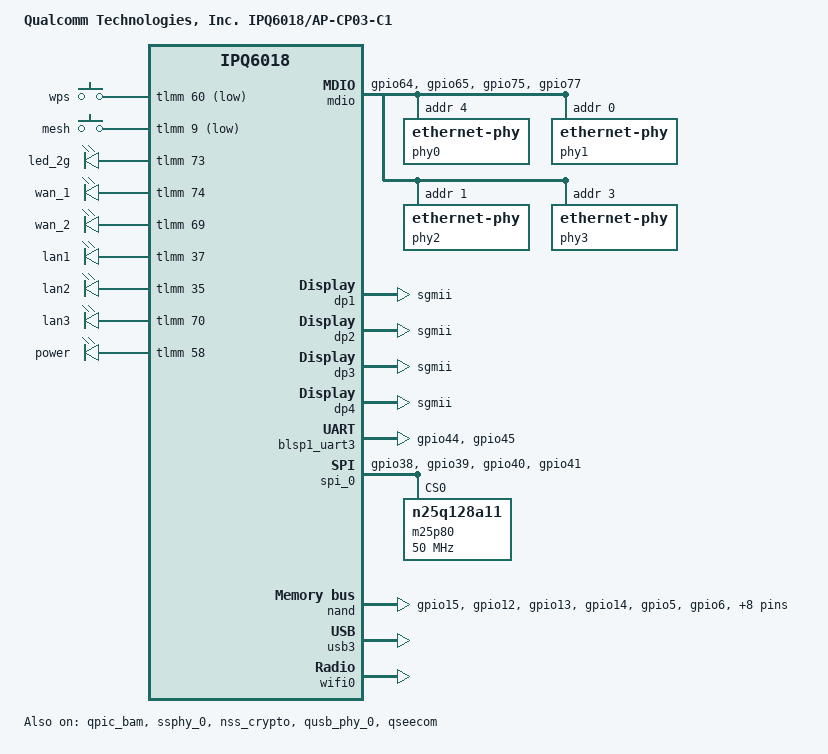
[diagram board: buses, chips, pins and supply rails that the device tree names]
/dts-v1/;
/*
 * Copyright (c) 2019, The Linux Foundation. All rights reserved.
 *
 * Permission to use, copy, modify, and/or distribute this software for any
 * purpose with or without fee is hereby granted, provided that the above
 * copyright notice and this permission notice appear in all copies.
 *
 * THE SOFTWARE IS PROVIDED "AS IS" AND THE AUTHOR DISCLAIMS ALL WARRANTIES
 * WITH REGARD TO THIS SOFTWARE INCLUDING ALL IMPLIED WARRANTIES OF
 * MERCHANTABILITY AND FITNESS. IN NO EVENT SHALL THE AUTHOR BE LIABLE FOR
 * ANY SPECIAL, DIRECT, INDIRECT, OR CONSEQUENTIAL DAMAGES OR ANY DAMAGES
 * WHATSOEVER RESULTING FROM LOSS OF USE, DATA OR PROFITS, WHETHER IN AN
 * ACTION OF CONTRACT, NEGLIGENCE OR OTHER TORTIOUS ACTION, ARISING OUT OF
 * OR IN CONNECTION WITH THE USE OR PERFORMANCE OF THIS SOFTWARE.
 */

#include "qcom-ipq6018.dtsi"
#include <dt-bindings/input/input.h>
#include "qcom-ipq6018-rpm-regulator.dtsi"
#include "qcom-ipq6018-cpr-regulator.dtsi"
#include "qcom-ipq6018-cp-cpu.dtsi"

/ {
	#address-cells = <0x2>;
	#size-cells = <0x2>;
	model = "Qualcomm Technologies, Inc. IPQ6018/AP-CP03-C1";
	compatible = "qcom,ipq6018-cp03", "qcom,ipq6018";
	qcom,msm-id = <0x192 0x0>;
	interrupt-parent = <&intc>;

	aliases {
		/*
		 * Aliases as required by u-boot
		 * to patch MAC addresses
		 */
		ethernet0 = "/soc/dp1";
		ethernet1 = "/soc/dp2";
		ethernet2 = "/soc/dp3";
		ethernet3 = "/soc/dp4";

	};

	chosen {
		bootargs = "console=ttyMSM0,115200,n8 rw init=/init";
#ifdef __IPQ_MEM_PROFILE_256_MB__
		bootargs-append = " swiotlb=1";
#else
		bootargs-append = " swiotlb=1 coherent_pool=2M";
#endif
	};

	/*
	 * +=========+==============+========================+
	 * |        |              |                         |
	 * | Region | Start Offset |          Size           |
	 * |        |              |                         |
	 * +--------+--------------+-------------------------+
	 * |        |              |                         |
	 * |        |              |                         |
	 * |        |              |                         |
	 * |        |              |                         |
	 * | Linux  |  0x41000000  |         139MB           |
	 * |        |              |                         |
	 * |        |              |                         |
	 * |        |              |                         |
	 * +--------+--------------+-------------------------+
	 * | TZ App |  0x49B00000  |           6MB           |
	 * +--------+--------------+-------------------------+
	 *
	 * From the available 145 MB for Linux in the first 256 MB,
	 * we are reserving 6 MB for TZAPP.
	 *
	 * Refer arch/arm64/boot/dts/qcom/qcom-ipq6018-memory.dtsi
	 * for memory layout.
	 */

/* TZAPP is enabled only in default memory profile */
#if !defined(__IPQ_MEM_PROFILE_256_MB__) && !defined(__IPQ_MEM_PROFILE_512_MB__)
	reserved-memory {
		tzapp:tzapp@49B00000 {	/* TZAPPS */
			no-map;
			reg = <0x0 0x49B00000 0x0 0x00600000>;
		};
	};
#endif
};

&tlmm {
	uart_pins: uart_pins {
		mux {
			pins = "gpio44", "gpio45";
			function = "blsp2_uart";
			drive-strength = <8>;
			bias-pull-down;
		};
	};

	spi_0_pins: spi_0_pins {
		mux {
			pins = "gpio38", "gpio39", "gpio40", "gpio41";
			function = "blsp0_spi";
			drive-strength = <8>;
			bias-pull-down;
		};
	};

	qpic_pins: qpic_pins {
		data_0 {
			pins = "gpio15";
			function = "qpic_pad0";
			drive-strength = <8>;
			bias-pull-down;
		};
		data_1 {
			pins = "gpio12";
			function = "qpic_pad1";
			drive-strength = <8>;
			bias-pull-down;
		};
		data_2 {
			pins = "gpio13";
			function = "qpic_pad2";
			drive-strength = <8>;
			bias-pull-down;
		};
		data_3 {
			pins = "gpio14";
			function = "qpic_pad3";
			drive-strength = <8>;
			bias-pull-down;
		};
		data_4 {
			pins = "gpio5";
			function = "qpic_pad4";
			drive-strength = <8>;
			bias-pull-down;
		};
		data_5 {
			pins = "gpio6";
			function = "qpic_pad5";
			drive-strength = <8>;
			bias-pull-down;
		};
		data_6 {
			pins = "gpio7";
			function = "qpic_pad6";
			drive-strength = <8>;
			bias-pull-down;
		};
		data_7 {
			pins = "gpio8";
			function = "qpic_pad7";
			drive-strength = <8>;
			bias-pull-down;
		};
		qpic_pad {
			pins = "gpio1", "gpio3", "gpio4",
			       "gpio10", "gpio11", "gpio17";
			function = "qpic_pad";
			drive-strength = <8>;
			bias-pull-down;
		};
	};

	button_pins: button_pins {
		wps_button {
			pins = "gpio60";
			function = "gpio";
			drive-strength = <8>;
			bias-pull-up;
		};

		mesh_button {
			pins = "gpio9";
			function = "gpio";
			drive-strength = <8>;
			bias-pull-up;
		};
	};

	mdio_pins: mdio_pinmux {
		mux_0 {
			pins = "gpio64";
			function = "mdc";
			drive-strength = <8>;
			bias-pull-up;
		};
		mux_1 {
			pins = "gpio65";
			function = "mdio";
			drive-strength = <8>;
			bias-pull-up;
		};
		mux_2 {
			pins = "gpio75";
			function = "gpio";
			drive-strength = <8>;
			bias-pull-up;
		};
		mux_3 {
			pins = "gpio77";
			function = "gpio";
			drive-strength = <8>;
			bias-pull-up;
		};
	};

	leds_pins: leds_pins {
		led_2g {
			pins = "gpio73";
			function = "gpio";
			drive-strength = <0x8>;
			bias-pull-up;
		};

		power {
			pins = "gpio58";
			function = "gpio";
			drive-strength = <0x8>;
			bias-pull-up;
		};

		wan_1 {
			pins = "gpio74";
			function = "gpio";
			drive-strength = <0x8>;
			bias-pull-down;
		};

		wan_2 {
			pins = "gpio69";
			function = "gpio";
			drive-strength = <0x8>;
			bias-pull-down;
		};

		lan1 {
			pins = "gpio37";
			function = "gpio";
			drive-strength = <0x8>;
			bias-pull-down;
		};

		lan2 {
			pins = "gpio35";
			function = "gpio";
			drive-strength = <0x8>;
			bias-pull-down;
		};

		lan3 {
			pins = "gpio70";
			function = "gpio";
			drive-strength = <0x8>;
			bias-pull-down;
		};

	   };
};

&soc {
	mdio: mdio@90000 {
		pinctrl-0 = <&mdio_pins>;
		pinctrl-names = "default";
		phy-reset-gpio = <&tlmm 75 0 &tlmm 77 1>;
		status = "ok";
		phy0: ethernet-phy@0 {
			reg = <4>;
		};
		phy1: ethernet-phy@1 {
			reg = <0>;
		};
		phy2: ethernet-phy@2 {
			reg = <1>;
		};
		phy3: ethernet-phy@3 {
			reg = <3>;
		};
	};

	ess-switch@3a000000 {
		switch_cpu_bmp = <0x1>;  /* cpu port bitmap */
		switch_lan_bmp = <0x1e>; /* lan port bitmap */
		switch_wan_bmp = <0x20>; /* wan port bitmap */
		switch_inner_bmp = <0xc0>; /*inner port bitmap*/
		switch_mac_mode = <0x0>; /* mac mode for uniphy instance0*/
		switch_mac_mode1 = <0xff>; /* mac mode for uniphy instance1*/
		switch_mac_mode2 = <0xff>; /* mac mode for uniphy instance2*/
		qcom,port_phyinfo {
			port@3 {
				port_id = <5>;
				phy_address = <4>;
			};
			port@0 {
				port_id = <1>;
				phy_address = <0>;
			};
			port@1 {
				port_id = <2>;
				phy_address = <1>;
			};
			port@2 {
				port_id = <4>;
				phy_address = <3>;
			};
		};
	};

	dp1 {
		device_type = "network";
		compatible = "qcom,nss-dp";
		qcom,id = <5>;
		reg = <0x3a001800 0x200>;
		qcom,mactype = <0>;
		local-mac-address = [000000000000];
		qcom,link-poll = <1>;
		qcom,phy-mdio-addr = <4>;
		phy-mode = "sgmii";
	};

	dp2 {
		device_type = "network";
		compatible = "qcom,nss-dp";
		qcom,id = <1>;
		reg = <0x3a001000 0x200>;
		qcom,mactype = <0>;
		local-mac-address = [000000000000];
		qcom,link-poll = <1>;
		qcom,phy-mdio-addr = <0>;
		phy-mode = "sgmii";
	};
	dp3 {
		device_type = "network";
		compatible = "qcom,nss-dp";
		qcom,id = <2>;
		reg = <0x3a001200 0x200>;
		qcom,mactype = <0>;
		local-mac-address = [000000000000];
		qcom,link-poll = <1>;
		qcom,phy-mdio-addr = <1>;
		phy-mode = "sgmii";
	};
	dp4 {
		device_type = "network";
		compatible = "qcom,nss-dp";
		qcom,id = <4>;
		reg = <0x3a001600 0x200>;
		qcom,mactype = <0>;
		local-mac-address = [000000000000];
		qcom,link-poll = <1>;
		qcom,phy-mdio-addr = <3>;
		phy-mode = "sgmii";
	};

	nss-macsec0 {
		compatible = "qcom,nss-macsec";
		phy_addr = <0x18>;
		phy_access_mode = <0x0>;
		mdiobus = <&mdio>;
	};

	gpio_keys {
		compatible = "gpio-keys";
		pinctrl-0 = <&button_pins>;
		pinctrl-names = "default";

		button@1 {
			label = "wps";
			linux,code = <KEY_WPS_BUTTON>;
			gpios = <&tlmm 60 GPIO_ACTIVE_LOW>;
			linux,input-type = <1>;
			debounce-interval = <60>;
		};

		button@2 {
			label = "mesh";
			linux,code = <KEY_ATTENDANT_ON>;
			gpios = <&tlmm 9 GPIO_ACTIVE_LOW>;
			linux,input-type = <1>;
			debounce-interval = <60>;
		};
	};


	leds {
		compatible = "gpio-leds";
		pinctrl-0 = <&leds_pins>;
		pinctrl-names = "default";

		led@73 {
			label = "led_2g";
			gpios = <&tlmm 73 GPIO_ACTIVE_HIGH>;
			linux,default-trigger = "led_2g";
			default-state = "on";
		};
		led@74 {
			label = "wan_1";
			gpios = <&tlmm 74 GPIO_ACTIVE_HIGH>;
			linux,default-trigger = "wan_1";
			default-state = "off";
		};
		led@69 {
			label = "wan_2";
			gpios = <&tlmm 69 GPIO_ACTIVE_HIGH>;
			linux,default-trigger = "wan_2";
			default-state = "off";
		};
		led@37 {
			label = "lan1";
			gpios = <&tlmm 37 GPIO_ACTIVE_HIGH>;
			linux,default-trigger = "lan1";
			default-state = "off";
		};
		led@35 {
			label = "lan2";
			gpios = <&tlmm 35 GPIO_ACTIVE_HIGH>;
			linux,default-trigger = "lan2";
			default-state = "off";
		};
		led@70 {
			label = "lan3";
			gpios = <&tlmm 70 GPIO_ACTIVE_HIGH>;
			linux,default-trigger = "lan3";
			default-state = "off";
		};
		led@58 {
			label = "power";
			gpios = <&tlmm 58 GPIO_ACTIVE_HIGH>;
			linux,default-trigger = "power";
			default-state = "on";
		};
	};
};

&blsp1_uart3 {
	pinctrl-0 = <&uart_pins>;
	pinctrl-names = "default";
	status = "ok";
};

&spi_0 {
	pinctrl-0 = <&spi_0_pins>;
	pinctrl-names = "default";
	cs-select = <0>;
	status = "ok";

	m25p80@0 {
		#address-cells = <1>;
		#size-cells = <1>;
		reg = <0>;
		compatible = "n25q128a11";
		linux,modalias = "m25p80", "n25q128a11";
		spi-max-frequency = <50000000>;
		use-default-sizes;
	};
};

&qpic_bam {
	status = "ok";
};

&nand {
	pinctrl-0 = <&qpic_pins>;
	pinctrl-names = "default";
	status = "ok";
};

&ssphy_0 {
	status = "ok";
};

&nss_crypto {
	status = "ok";
};

&qusb_phy_0 {
        status = "ok";
};

&usb3 {
        status = "ok";
};

&wifi0 {
	status = "ok";
};

&wifi1 {
	status = "disabled";
};

/* TZAPP is enabled in default memory profile only */
#if !defined(__IPQ_MEM_PROFILE_256_MB__) && !defined(__IPQ_MEM_PROFILE_512_MB__)
&qseecom {
	mem-start = <0x49B00000>;
	mem-size = <0x600000>;
	status = "ok";
};
#endif
